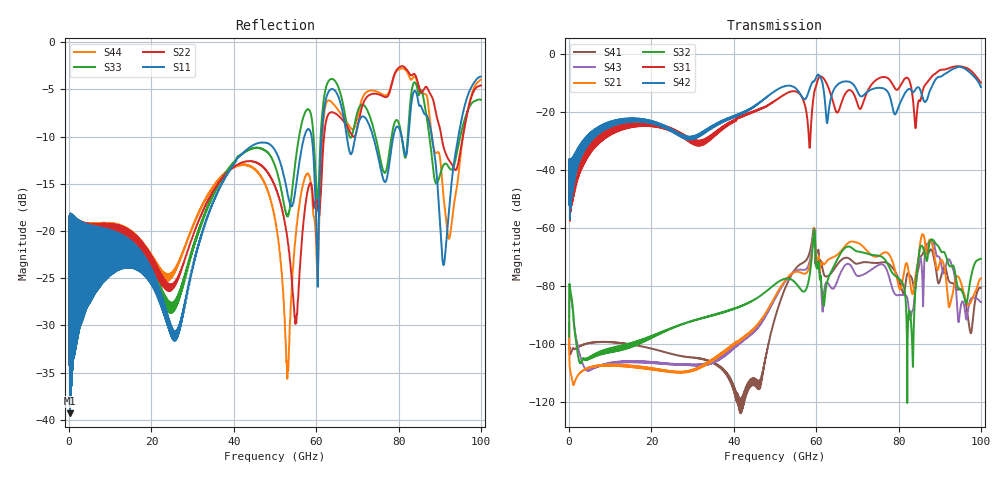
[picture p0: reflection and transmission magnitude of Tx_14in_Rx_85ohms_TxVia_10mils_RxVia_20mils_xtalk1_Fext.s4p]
! Info: Touchstone file created by Circ.  Input file=Tx_14in_Rx_85ohms_TxVia_10mils_RxVia_20mils.circ
# Hz S RI R 50
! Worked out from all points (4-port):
!   10000 points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, 10 MHz to 100 GHz, reference 50 ohm
!   strongest paths, dB at 10 MHz, 25.01 GHz, 50.01 GHz, 75.01 GHz, 100 GHz:
!     S42: -52.0, -26.6, -12.8, -11.7, -11.5
!     S31: -52.0, -26.4, -16.2, -8.6, -9.9
!     S32: -97.6, -94.6, -79.5, -69.6, -70.7
!     S21: -93.7, -109.7, -83.8, -69.8, -77.5
!     S43: -90.7, -107.0, -84.5, -73.0, -85.7
!     S41: -92.9, -103.6, -91.1, -72.1, -80.7
!   lowest |S11| = -39.3 dB at 220 MHz (marker M1), VSWR 1.02, Z = 49.1 + j0.564 ohm
!   |S11| at or under -10 dB: start of sweep to 57.12 GHz; 73.85 GHz to 78.74 GHz (4.885 GHz wide, 6.4 % of centre); 88.09 GHz to 94.52 GHz (6.436 GHz wide, 7.05 % of centre) (the widest 3 of 6)
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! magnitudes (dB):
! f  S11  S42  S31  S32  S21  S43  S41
! 10 MHz  -34.1  -52.0  -52.0  -97.6  -93.7  -90.7  -92.9
! 220 MHz  -39.3  -53.0  -53.2  -80.6  -108.7  -81.6  -103.6
! 43.44 GHz  -11.3  -19.4  -20.6  -86.0  -96.8  -97.8  -115.3
! 53.02 GHz  -15.9  -11.0  -13.5  -77.5  -77.2  -77.5  -79.1
! 62.72 GHz  -5.5  -23.6  -10.8  -78.4  -71.3  -78.9  -76.8
! 90.96 GHz  -23.6  -7.2  -5.4  -68.3  -72.5  -75.8  -73.7
! 100 GHz  -3.6  -11.5  -9.9  -70.7  -77.5  -85.7  -80.7
